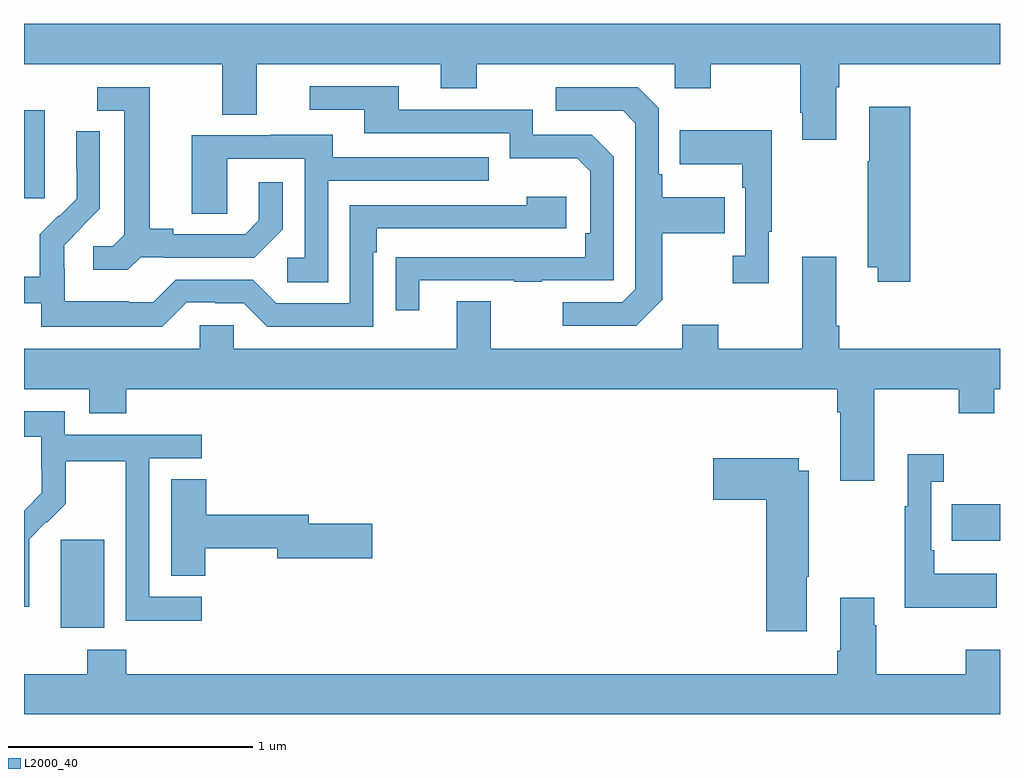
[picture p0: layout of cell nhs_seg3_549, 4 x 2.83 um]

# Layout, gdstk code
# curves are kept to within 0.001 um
import gdstk
lib = gdstk.Library(unit=1e-6, precision=1e-09)
def R(c, l, rs):  # rectangles x0, y0, x1, y1
    for r in rs: c.add(gdstk.rectangle(r[:2], r[2:], *l))
def P(c, l, *ps):  # polygons
    for p in ps: c.add(gdstk.Polygon(p, *l))
L2000_40 = (2000, 40)

nhs_seg3_549 = lib.new_cell('nhs_seg3_549')
R(nhs_seg3_549, L2000_40, [(137.15,745.226,137.329,745.587), (140.803,745.583,141,745.731), (137,746.985,137.086,747.346)])
P(nhs_seg3_549, L2000_40, [(140.329,747.44),(140.342,747.44),(140.342,747.536),(141,747.536),(141,747.7),(137,747.7),(137,747.536),(137.813,747.536),(137.813,747.328),(137.953,747.328),(137.953,747.536),(138.707,747.536),(138.707,747.437),(138.855,747.437),(138.855,747.536),(139.668,747.536),(139.668,747.437),(139.815,747.437),(139.815,747.536),(140.182,747.536),(140.182,747.337),(140.189,747.337),(140.189,747.225),(140.329,747.225)],
  [(138.619,746.649),(139.009,746.649),(139.009,746.644),(139.121,746.644),(139.121,746.649),(139.416,746.649),(139.416,747.156),(139.326,747.246),(139.086,747.246),(139.086,747.348),(138.535,747.348),(138.535,747.444),(138.171,747.444),(138.171,747.348),(138.395,747.348),(138.395,747.252),(138.99,747.252),(138.99,747.149),(139.267,747.149),(139.32,747.096),(139.32,746.842),(139.3,746.842),(139.3,746.745),(138.523,746.744),(138.523,746.526),(138.619,746.526)],
  [(139.615,746.569),(139.615,746.842),(139.871,746.842),(139.871,746.989),(139.615,746.989),(139.615,747.085),(139.602,747.085),(139.602,747.354),(139.515,747.441),(139.179,747.441),(139.179,747.345),(139.455,747.345),(139.506,747.294),(139.506,746.613),(139.452,746.559),(139.209,746.559),(139.209,746.463),(139.509,746.463)],
  [(137.478,746.745),(137.572,746.745),(137.572,746.742),(137.944,746.742),(138.06,746.858),(138.06,747.052),(137.963,747.052),(137.963,746.895),(137.906,746.838),(137.611,746.838),(137.611,746.861),(137.515,746.861),(137.515,747.441),(137.301,747.441),(137.301,747.345),(137.411,747.345),(137.411,746.837),(137.364,746.79),(137.283,746.79),(137.283,746.693),(137.426,746.693)],
  [(140.633,747.361),(140.465,747.361),(140.465,747.137),(140.458,747.137),(140.458,746.702),(140.498,746.702),(140.498,746.643),(140.633,746.643)],
  [(140.053,746.849),(140.065,746.849),(140.065,747.265),(139.687,747.265),(139.687,747.125),(139.944,747.125),(139.944,747.029),(139.956,747.029),(139.956,746.75),(139.905,746.75),(139.905,746.637),(140.053,746.637)],
  [(137.667,746.559),(137.783,746.559),(137.783,746.556),(137.901,746.556),(137.997,746.46),(138.432,746.46),(138.432,746.765),(138.445,746.765),(138.445,746.862),(139.222,746.862),(139.222,746.992),(139.061,746.992),(139.061,746.958),(138.336,746.958),(138.336,746.556),(138.033,746.556),(137.937,746.652),(137.622,746.652),(137.529,746.559),(137.429,746.559),(137.429,746.563),(137.166,746.563),(137.166,746.697),(137.164,746.697),(137.164,746.794),(137.31,746.942),(137.31,747.26),(137.214,747.26),(137.214,747.106),(137.216,747.106),(137.216,746.984),(137.145,746.913),(137.142,746.916),(137.065,746.839),(137.065,746.665),(137,746.665),(137,746.556),(137.07,746.556),(137.07,746.459),(137.567,746.459)],
  [(138.246,747.057),(138.905,747.057),(138.905,747.153),(138.265,747.153),(138.265,747.247),(138.011,747.247),(138.011,747.243),(137.687,747.243),(137.687,746.923),(137.832,746.923),(137.832,747.147),(138.15,747.147),(138.15,746.742),(138.078,746.742),(138.078,746.641),(138.246,746.641)],
  [(140.485,746.204),(140.83,746.204),(140.83,746.105),(140.977,746.105),(140.977,746.204),(141,746.204),(141,746.368),(140.342,746.368),(140.342,746.464),(140.329,746.464),(140.329,746.746),(140.189,746.746),(140.189,746.368),(139.845,746.368),(139.845,746.467),(139.697,746.467),(139.697,746.368),(138.913,746.368),(138.913,746.563),(138.773,746.563),(138.773,746.368),(137.859,746.368),(137.859,746.466),(137.721,746.466),(137.721,746.368),(137,746.368),(137,746.204),(137.267,746.204),(137.267,746.105),(137.42,746.105),(137.42,746.204),(140.333,746.204),(140.333,746.108),(140.345,746.108),(140.345,745.827),(140.485,745.827)],
  [(137.728,745.353),(137.514,745.353),(137.514,745.92),(137.728,745.92),(137.728,746.016),(137.166,746.016),(137.166,746.113),(137,746.113),(137,746.009),(137.07,746.009),(137.07,745.875),(137.072,745.875),(137.072,745.778),(137,745.706),(137,745.312),(137.022,745.312),(137.021,745.589),(137.091,745.659),(137.094,745.656),(137.171,745.733),(137.171,745.908),(137.416,745.908),(137.416,745.684),(137.418,745.684),(137.418,745.255),(137.728,745.255)],
  [(140.987,745.447),(140.731,745.447),(140.731,745.543),(140.718,745.543),(140.718,745.823),(140.77,745.823),(140.77,745.936),(140.621,745.936),(140.621,745.723),(140.61,745.723),(140.61,745.307),(140.987,745.307)],
  [(140.209,745.435),(140.217,745.435),(140.217,745.87),(140.176,745.87),(140.176,745.921),(139.824,745.921),(139.824,745.751),(140.042,745.751),(140.042,745.212),(140.209,745.212)],
  [(137.742,745.552),(138.038,745.552),(138.038,745.51),(138.427,745.51),(138.427,745.652),(138.166,745.652),(138.166,745.688),(137.747,745.688),(137.747,745.835),(137.603,745.835),(137.603,745.438),(137.742,745.438)],
  [(141,745.135),(140.86,745.135),(140.86,745.036),(140.493,745.036),(140.493,745.235),(140.485,745.235),(140.485,745.348),(140.345,745.348),(140.345,745.132),(140.333,745.132),(140.333,745.036),(137.42,745.036),(137.42,745.135),(137.26,745.135),(137.26,745.036),(137,745.036),(137,744.872),(141,744.872)])

lib.write_gds('nhs_seg3_549.gds')
